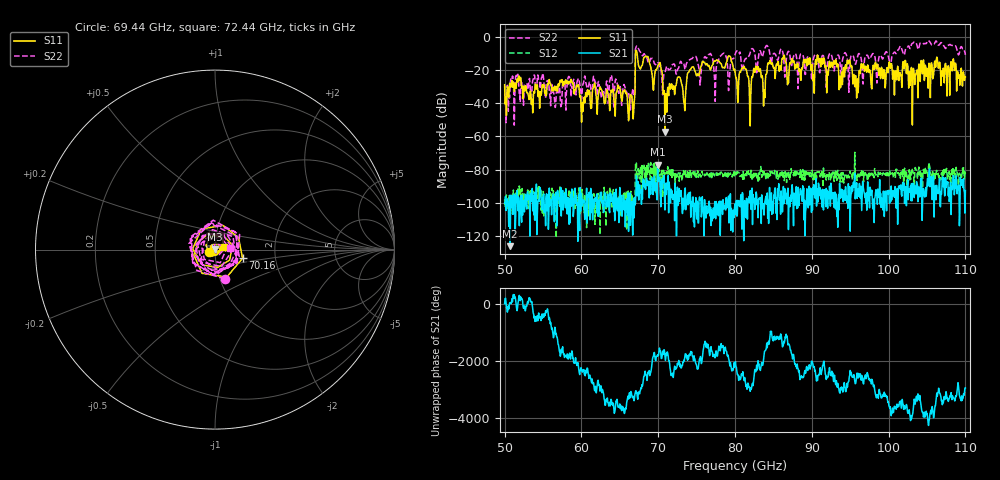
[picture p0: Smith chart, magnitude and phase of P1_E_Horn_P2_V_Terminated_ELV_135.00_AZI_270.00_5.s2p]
! 11/26/2026 10:28:08 AM
! C:\ANRITSUVNA\TEMP\TEMP.S2P
! CHANNEL.1
! TR.MEASUREMENT
! RAW.DATA
# HZ S RI R 50.0
! FREQ.HZ  S11RE  S11IM  S21RE  S21IM  S12RE  S12IM  S22RE  S22IM
!; PortSelection: Port_12
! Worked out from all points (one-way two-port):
!   1001 points, 50 GHz to 110 GHz, reference 50 ohm
!   highest |S21| = -76.99 dB at 69.92 GHz (marker M1); lowest = -126.0 dB at 50.72 GHz (marker M2)
!   lowest |S11| = -57.2 dB at 70.88 GHz (marker M3), VSWR 1.00, Z = 50 + j0.139 ohm
!   |S11| at or under -10 dB: start of sweep to 67.04 GHz; 67.25 GHz to end of sweep
!   |S22| runs from -53.2 to -2.3 dB; largest |S21 - S12| = 0.00038
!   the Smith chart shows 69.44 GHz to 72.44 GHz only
!   S11 on the Smith chart (normalised r, x): 69.44 GHz: 0.93, -0.02; 70.16 GHz: 1.35, -0.13; 72.44 GHz: 1.10, +0.03
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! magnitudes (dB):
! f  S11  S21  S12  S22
! 50 GHz  -29.0  -100.1  -97.8  -34.1
! 50.72 GHz  -28.3  -126.0  -97.3  -28.3
! 58.46 GHz  -27.1  -97.3  -96.7  -24.6
! 60.02 GHz  -51.5  -95.3  -98.1  -37.6
! 66.32 GHz  -36.5  -94.0  -102.7  -42.2
! 67.34 GHz  -13.9  -88.6  -84.9  -6.4
! 69.44 GHz  -28.6  -91.6  -88.4  -15.3
! 69.92 GHz  -18.1  -77.0  -81.4  -16.2
! 70.04 GHz  -17.0  -84.5  -81.3  -15.9
! 70.16 GHz  -15.9  -84.8  -82.5  -18.0
! 70.88 GHz  -57.2  -104.3  -81.8  -21.4
! 72.44 GHz  -26.1  -98.5  -82.8  -21.3
! 73.4 GHz  -39.9  -99.4  -82.4  -17.7
! 74.3 GHz  -19.1  -103.5  -85.0  -13.4
! 76.7 GHz  -18.8  -102.3  -85.0  -10.5
! 77.48 GHz  -14.7  -109.6  -82.3  -27.0
! 78.5 GHz  -18.6  -103.5  -83.1  -10.1
! 79.22 GHz  -11.6  -112.0  -83.3  -28.9
! 80 GHz  -20.8  -100.7  -82.0  -10.9
! 90.02 GHz  -16.7  -91.8  -80.3  -25.5
! 100 GHz  -16.1  -92.4  -83.8  -13.4
! 110 GHz  -24.3  -92.5  -82.7  -11.0
